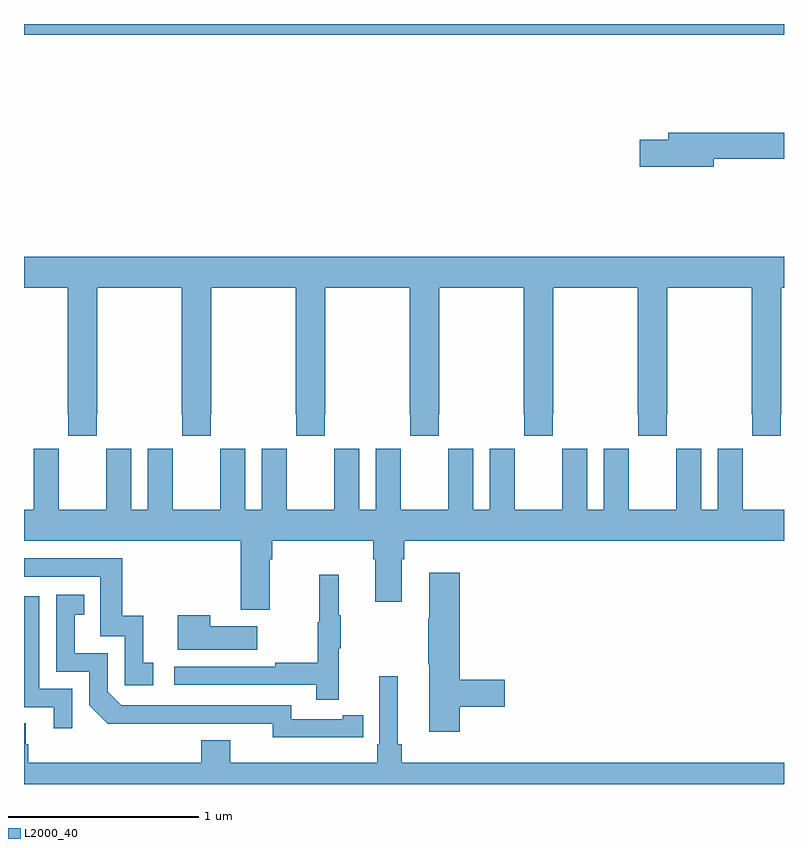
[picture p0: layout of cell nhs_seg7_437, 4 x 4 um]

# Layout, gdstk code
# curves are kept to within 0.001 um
import gdstk
lib = gdstk.Library(unit=1e-6, precision=1e-09)
def R(c, l, rs):  # rectangles x0, y0, x1, y1
    for r in rs: c.add(gdstk.rectangle(r[:2], r[2:], *l))
def P(c, l, *ps):  # polygons
    for p in ps: c.add(gdstk.Polygon(p, *l))
L2000_40 = (2000, 40)

nhs_seg7_437 = lib.new_cell('nhs_seg7_437')
R(nhs_seg7_437, L2000_40, [(145,1005.944,149,1006)])
P(nhs_seg7_437, L2000_40, [(148.63,1005.292),(149,1005.292),(149,1005.428),(148.391,1005.428),(148.391,1005.392),(148.242,1005.392),(148.242,1005.25),(148.63,1005.25)],
  [(145.383,1003.945),(145.386,1003.945),(145.386,1004.612),(145.831,1004.612),(145.831,1003.945),(145.833,1003.945),(145.833,1003.833),(145.983,1003.833),(145.983,1003.945),(145.986,1003.945),(145.986,1004.612),(146.431,1004.612),(146.431,1003.945),(146.433,1003.945),(146.433,1003.833),(146.583,1003.833),(146.583,1003.945),(146.586,1003.945),(146.586,1004.612),(147.031,1004.612),(147.031,1003.945),(147.033,1003.945),(147.033,1003.833),(147.183,1003.833),(147.183,1003.945),(147.186,1003.945),(147.186,1004.612),(147.631,1004.612),(147.631,1003.945),(147.633,1003.945),(147.633,1003.833),(147.783,1003.833),(147.783,1003.945),(147.786,1003.945),(147.786,1004.612),(148.231,1004.612),(148.231,1003.945),(148.233,1003.945),(148.233,1003.833),(148.383,1003.833),(148.383,1003.945),(148.386,1003.945),(148.386,1004.612),(148.831,1004.612),(148.831,1003.945),(148.833,1003.945),(148.833,1003.833),(148.983,1003.833),(148.983,1003.945),(148.986,1003.945),(148.986,1004.612),(149,1004.612),(149,1004.776),(145,1004.776),(145,1004.612),(145.231,1004.612),(145.231,1003.945),(145.233,1003.945),(145.233,1003.833),(145.383,1003.833)],
  [(146.293,1003.184),(146.306,1003.184),(146.306,1003.28),(146.837,1003.28),(146.837,1003.184),(146.849,1003.184),(146.849,1002.96),(146.989,1002.96),(146.989,1003.184),(147.002,1003.184),(147.002,1003.28),(149,1003.28),(149,1003.444),(148.783,1003.444),(148.783,1003.652),(148.782,1003.652),(148.782,1003.765),(148.652,1003.765),(148.652,1003.444),(148.564,1003.444),(148.564,1003.765),(148.434,1003.765),(148.434,1003.652),(148.433,1003.652),(148.433,1003.444),(148.183,1003.444),(148.183,1003.652),(148.182,1003.652),(148.182,1003.765),(148.052,1003.765),(148.052,1003.444),(147.964,1003.444),(147.964,1003.765),(147.834,1003.765),(147.834,1003.652),(147.833,1003.652),(147.833,1003.444),(147.583,1003.444),(147.583,1003.652),(147.582,1003.652),(147.582,1003.765),(147.452,1003.765),(147.452,1003.444),(147.364,1003.444),(147.364,1003.765),(147.234,1003.765),(147.234,1003.652),(147.233,1003.652),(147.233,1003.444),(146.983,1003.444),(146.983,1003.652),(146.982,1003.652),(146.982,1003.765),(146.852,1003.765),(146.852,1003.444),(146.764,1003.444),(146.764,1003.765),(146.634,1003.765),(146.634,1003.652),(146.633,1003.652),(146.633,1003.444),(146.383,1003.444),(146.383,1003.652),(146.382,1003.652),(146.382,1003.765),(146.252,1003.765),(146.252,1003.444),(146.164,1003.444),(146.164,1003.765),(146.034,1003.765),(146.034,1003.652),(146.033,1003.652),(146.033,1003.444),(145.783,1003.444),(145.783,1003.652),(145.782,1003.652),(145.782,1003.765),(145.652,1003.765),(145.652,1003.444),(145.564,1003.444),(145.564,1003.765),(145.434,1003.765),(145.434,1003.652),(145.433,1003.652),(145.433,1003.444),(145.183,1003.444),(145.183,1003.652),(145.182,1003.652),(145.182,1003.765),(145.052,1003.765),(145.052,1003.444),(145,1003.444),(145,1003.28),(146.141,1003.28),(146.141,1002.918),(146.293,1002.918)],
  [(145.681,1002.639),(145.628,1002.639),(145.628,1002.886),(145.517,1002.886),(145.517,1003.188),(145,1003.188),(145,1003.092),(145.401,1003.092),(145.401,1002.777),(145.53,1002.777),(145.53,1002.519),(145.681,1002.519)],
  [(147.293,1002.406),(147.529,1002.406),(147.529,1002.548),(147.293,1002.548),(147.293,1003.111),(147.134,1003.111),(147.134,1002.872),(147.127,1002.872),(147.127,1002.631),(147.134,1002.631),(147.134,1002.276),(147.293,1002.276)],
  [(146.657,1002.715),(146.668,1002.715),(146.668,1002.889),(146.657,1002.889),(146.657,1003.102),(146.554,1003.102),(146.554,1002.852),(146.547,1002.852),(146.547,1002.638),(146.323,1002.638),(146.323,1002.618),(145.791,1002.618),(145.791,1002.522),(146.539,1002.522),(146.539,1002.444),(146.657,1002.444)],
  [(146.678,1002.246),(146.786,1002.246),(146.786,1002.362),(146.678,1002.362),(146.678,1002.342),(146.406,1002.342),(146.406,1002.414),(145.512,1002.414),(145.44,1002.486),(145.44,1002.687),(145.267,1002.687),(145.267,1002.891),(145.316,1002.891),(145.316,1002.997),(145.17,1002.997),(145.17,1002.591),(145.344,1002.591),(145.344,1002.414),(145.442,1002.317),(146.31,1002.318),(146.31,1002.245)],
  [(145.254,1002.501),(145.08,1002.501),(145.08,1002.987),(145,1002.987),(145,1002.405),(145.157,1002.405),(145.157,1002.294),(145.254,1002.294)],
  [(146.227,1002.829),(145.979,1002.829),(145.979,1002.889),(145.808,1002.889),(145.808,1002.707),(146.227,1002.707)],
  [(149,1002.112),(146.987,1002.112),(146.987,1002.208),(146.968,1002.208),(146.968,1002.568),(146.871,1002.568),(146.871,1002.208),(146.858,1002.208),(146.858,1002.112),(146.086,1002.112),(146.086,1002.229),(145.934,1002.229),(145.934,1002.112),(145.022,1002.112),(145.022,1002.21),(145.009,1002.21),(145.009,1002.32),(145,1002.32),(145,1002),(149,1002)])

lib.write_gds('nhs_seg7_437.gds')
